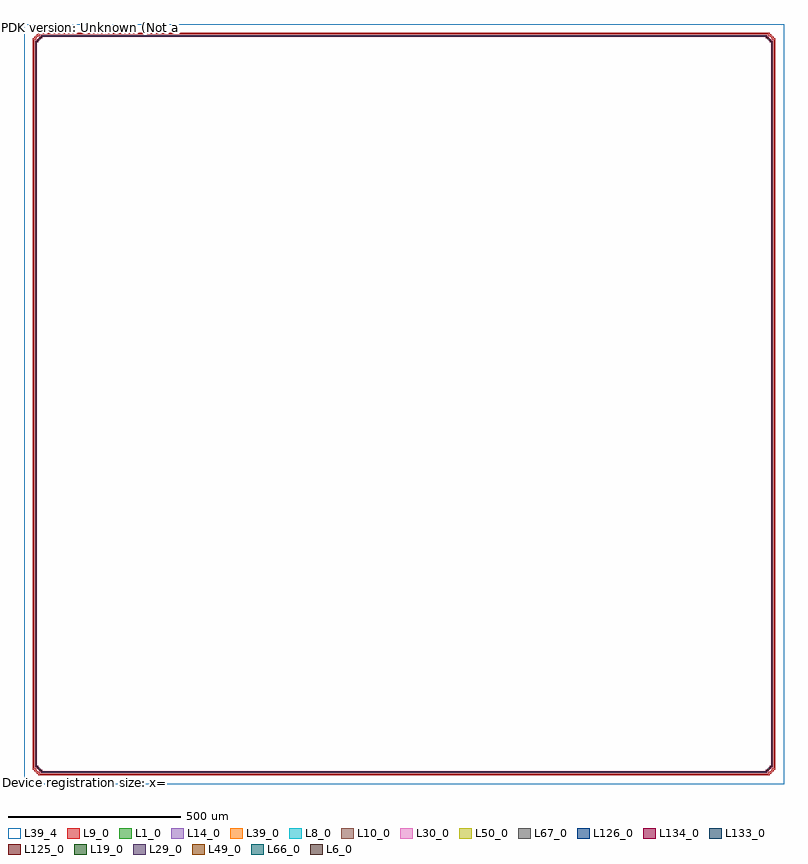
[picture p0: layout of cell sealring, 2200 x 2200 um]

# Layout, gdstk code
import gdstk
lib = gdstk.Library(unit=1e-6, precision=1e-09)
def R(c, l, rs):  # rectangles x0, y0, x1, y1
    for r in rs: c.add(gdstk.rectangle(r[:2], r[2:], *l))
def P(c, l, *ps):  # polygons
    for p in ps: c.add(gdstk.Polygon(p, *l))
L1_0 = (1, 0)
L6_0 = (6, 0)
L8_0 = (8, 0)
L9_0 = (9, 0)
L10_0 = (10, 0)
L14_0 = (14, 0)
L19_0 = (19, 0)
L29_0 = (29, 0)
L30_0 = (30, 0)
L39_0 = (39, 0)
L39_4 = (39, 4)
L49_0 = (49, 0)
L50_0 = (50, 0)
L66_0 = (66, 0)
L67_0 = (67, 0)
L125_0 = (125, 0)
L126_0 = (126, 0)
L133_0 = (133, 0)
L134_0 = (134, 0)

sealring = lib.new_cell('sealring')
R(sealring, L1_0, [(49,32.2,53.2,40.6), (53.2,32.2,2146.8,36.4), (2146.8,32.2,2151,36.4), (44.8,36.4,49,44.8), (2146.8,36.4,2155.2,40.6), (40.6,40.6,44.8,49), (2151,40.6,2159.4,44.8), (36.4,44.8,40.6,53.2), (2155.2,44.8,2163.6,49), (32.2,49,36.4,53.2), (2159.4,49,2167.8,53.2), (32.2,53.2,36.4,2146.8), (2163.6,53.2,2167.8,2146.8), (32.2,2146.8,40.6,2151), (2159.4,2146.8,2163.6,2155.2), (2163.6,2146.8,2167.8,2151), (36.4,2151,44.8,2155.2), (2155.2,2151,2159.4,2159.4), (40.6,2155.2,49,2159.4), (2151,2155.2,2155.2,2163.6), (44.8,2159.4,53.2,2163.6), (2146.8,2159.4,2151,2167.8), (49,2163.6,53.2,2167.8), (53.2,2163.6,2146.8,2167.8)])
R(sealring, L6_0, [(53.2,34.2,2146.8,34.36), (34.2,53.2,34.36,2146.8), (2165.64,53.2,2165.8,2146.8), (53.2,2165.64,2146.8,2165.8)])
P(sealring, L6_0, [(2165.64,2146.8),(2165.64,2148.84),(2161.44,2148.84),(2161.44,2153.04),(2157.24,2153.04),(2157.24,2157.24),(2153.04,2157.24),(2153.04,2161.44),(2148.84,2161.44),(2148.84,2165.64),(2146.8,2165.64),(2146.8,2165.8),(2149,2165.8),(2149,2161.6),(2153.2,2161.6),(2153.2,2157.4),(2157.4,2157.4),(2157.4,2153.2),(2161.6,2153.2),(2161.6,2149),(2165.8,2149),(2165.8,2146.8)],
  [(51,34.2),(51,38.4),(46.8,38.4),(46.8,42.6),(42.6,42.6),(42.6,46.8),(38.4,46.8),(38.4,51),(34.2,51),(34.2,53.2),(34.36,53.2),(34.36,51.16),(38.56,51.16),(38.56,46.96),(42.76,46.96),(42.76,42.76),(46.96,42.76),(46.96,38.56),(51.16,38.56),(51.16,34.36),(53.2,34.36),(53.2,34.2)],
  [(2146.8,34.2),(2146.8,34.36),(2148.84,34.36),(2148.84,38.56),(2153.04,38.56),(2153.04,42.76),(2157.24,42.76),(2157.24,46.96),(2161.44,46.96),(2161.44,51.16),(2165.64,51.16),(2165.64,53.2),(2165.8,53.2),(2165.8,51),(2161.6,51),(2161.6,46.8),(2157.4,46.8),(2157.4,42.6),(2153.2,42.6),(2153.2,38.4),(2149,38.4),(2149,34.2)],
  [(34.2,2146.8),(34.2,2149),(38.4,2149),(38.4,2153.2),(42.6,2153.2),(42.6,2157.4),(46.8,2157.4),(46.8,2161.6),(51,2161.6),(51,2165.8),(53.2,2165.8),(53.2,2165.64),(51.16,2165.64),(51.16,2161.44),(46.96,2161.44),(46.96,2157.24),(42.76,2157.24),(42.76,2153.04),(38.56,2153.04),(38.56,2148.84),(34.36,2148.84),(34.36,2146.8)])
R(sealring, L8_0, [(49,32.2,53.2,40.6), (53.2,32.2,2146.8,36.4), (2146.8,32.2,2151,36.4), (44.8,36.4,49,44.8), (2146.8,36.4,2155.2,40.6), (40.6,40.6,44.8,49), (2151,40.6,2159.4,44.8), (36.4,44.8,40.6,53.2), (2155.2,44.8,2163.6,49), (32.2,49,36.4,53.2), (2159.4,49,2167.8,53.2), (32.2,53.2,36.4,2146.8), (2163.6,53.2,2167.8,2146.8), (32.2,2146.8,40.6,2151), (2159.4,2146.8,2163.6,2155.2), (2163.6,2146.8,2167.8,2151), (36.4,2151,44.8,2155.2), (2155.2,2151,2159.4,2159.4), (40.6,2155.2,49,2159.4), (2151,2155.2,2155.2,2163.6), (44.8,2159.4,53.2,2163.6), (2146.8,2159.4,2151,2167.8), (49,2163.6,53.2,2167.8), (53.2,2163.6,2146.8,2167.8)])
R(sealring, L9_0, [(53.2,25,2146.8,29.2), (25,53.2,29.2,2146.8), (2170.8,53.2,2175,2146.8), (53.2,2170.8,2146.8,2175)])
P(sealring, L9_0, [(41.8,25),(41.8,29.2),(37.6,29.2),(37.6,33.4),(33.4,33.4),(33.4,37.6),(29.2,37.6),(29.2,41.8),(25,41.8),(25,53.2),(29.2,53.2),(29.2,46),(33.4,46),(33.4,41.8),(37.6,41.8),(37.6,37.6),(41.8,37.6),(41.8,33.4),(46,33.4),(46,29.2),(78.2,29.2),(78.2,25)],
  [(2170.8,2146.8),(2170.8,2154),(2166.6,2154),(2166.6,2158.2),(2162.4,2158.2),(2162.4,2162.4),(2158.2,2162.4),(2158.2,2166.6),(2154,2166.6),(2154,2170.8),(2121.8,2170.8),(2121.8,2175),(2158.2,2175),(2158.2,2170.8),(2162.4,2170.8),(2162.4,2166.6),(2166.6,2166.6),(2166.6,2162.4),(2170.8,2162.4),(2170.8,2158.2),(2175,2158.2),(2175,2146.8)],
  [(2146.8,25),(2146.8,29.2),(2154,29.2),(2154,33.4),(2158.2,33.4),(2158.2,37.6),(2162.4,37.6),(2162.4,41.8),(2166.6,41.8),(2166.6,46),(2170.8,46),(2170.8,78.2),(2175,78.2),(2175,41.8),(2170.8,41.8),(2170.8,37.6),(2166.6,37.6),(2166.6,33.4),(2162.4,33.4),(2162.4,29.2),(2158.2,29.2),(2158.2,25)],
  [(25,2121.8),(25,2158.2),(29.2,2158.2),(29.2,2162.4),(33.4,2162.4),(33.4,2166.6),(37.6,2166.6),(37.6,2170.8),(41.8,2170.8),(41.8,2175),(53.2,2175),(53.2,2170.8),(46,2170.8),(46,2166.6),(41.8,2166.6),(41.8,2162.4),(37.6,2162.4),(37.6,2158.2),(33.4,2158.2),(33.4,2154),(29.2,2154),(29.2,2121.8)])
R(sealring, L10_0, [(49,32.2,53.2,40.6), (53.2,32.2,2146.8,36.4), (2146.8,32.2,2151,36.4), (44.8,36.4,49,44.8), (2146.8,36.4,2155.2,40.6), (40.6,40.6,44.8,49), (2151,40.6,2159.4,44.8), (36.4,44.8,40.6,53.2), (2155.2,44.8,2163.6,49), (32.2,49,36.4,53.2), (2159.4,49,2167.8,53.2), (32.2,53.2,36.4,2146.8), (2163.6,53.2,2167.8,2146.8), (32.2,2146.8,40.6,2151), (2159.4,2146.8,2163.6,2155.2), (2163.6,2146.8,2167.8,2151), (36.4,2151,44.8,2155.2), (2155.2,2151,2159.4,2159.4), (40.6,2155.2,49,2159.4), (2151,2155.2,2155.2,2163.6), (44.8,2159.4,53.2,2163.6), (2146.8,2159.4,2151,2167.8), (49,2163.6,53.2,2167.8), (53.2,2163.6,2146.8,2167.8)])
R(sealring, L14_0, [(49,32.2,53.2,40.6), (53.2,32.2,2146.8,36.4), (2146.8,32.2,2151,36.4), (44.8,36.4,49,44.8), (2146.8,36.4,2155.2,40.6), (40.6,40.6,44.8,49), (2151,40.6,2159.4,44.8), (36.4,44.8,40.6,53.2), (2155.2,44.8,2163.6,49), (32.2,49,36.4,53.2), (2159.4,49,2167.8,53.2), (32.2,53.2,36.4,2146.8), (2163.6,53.2,2167.8,2146.8), (32.2,2146.8,40.6,2151), (2159.4,2146.8,2163.6,2155.2), (2163.6,2146.8,2167.8,2151), (36.4,2151,44.8,2155.2), (2155.2,2151,2159.4,2159.4), (40.6,2155.2,49,2159.4), (2151,2155.2,2155.2,2163.6), (44.8,2159.4,53.2,2163.6), (2146.8,2159.4,2151,2167.8), (49,2163.6,53.2,2167.8), (53.2,2163.6,2146.8,2167.8)])
R(sealring, L19_0, [(53.2,34.2,2146.8,34.39), (34.2,53.2,34.39,2146.8), (2165.61,53.2,2165.8,2146.8), (53.2,2165.61,2146.8,2165.8)])
P(sealring, L19_0, [(2165.61,2146.8),(2165.61,2148.81),(2161.41,2148.81),(2161.41,2153.01),(2157.21,2153.01),(2157.21,2157.21),(2153.01,2157.21),(2153.01,2161.41),(2148.81,2161.41),(2148.81,2165.61),(2146.8,2165.61),(2146.8,2165.8),(2149,2165.8),(2149,2161.6),(2153.2,2161.6),(2153.2,2157.4),(2157.4,2157.4),(2157.4,2153.2),(2161.6,2153.2),(2161.6,2149),(2165.8,2149),(2165.8,2146.8)],
  [(51,34.2),(51,38.4),(46.8,38.4),(46.8,42.6),(42.6,42.6),(42.6,46.8),(38.4,46.8),(38.4,51),(34.2,51),(34.2,53.2),(34.39,53.2),(34.39,51.19),(38.59,51.19),(38.59,46.99),(42.79,46.99),(42.79,42.79),(46.99,42.79),(46.99,38.59),(51.19,38.59),(51.19,34.39),(53.2,34.39),(53.2,34.2)],
  [(2146.8,34.2),(2146.8,34.39),(2148.81,34.39),(2148.81,38.59),(2153.01,38.59),(2153.01,42.79),(2157.21,42.79),(2157.21,46.99),(2161.41,46.99),(2161.41,51.19),(2165.61,51.19),(2165.61,53.2),(2165.8,53.2),(2165.8,51),(2161.6,51),(2161.6,46.8),(2157.4,46.8),(2157.4,42.6),(2153.2,42.6),(2153.2,38.4),(2149,38.4),(2149,34.2)],
  [(34.2,2146.8),(34.2,2149),(38.4,2149),(38.4,2153.2),(42.6,2153.2),(42.6,2157.4),(46.8,2157.4),(46.8,2161.6),(51,2161.6),(51,2165.8),(53.2,2165.8),(53.2,2165.61),(51.19,2165.61),(51.19,2161.41),(46.99,2161.41),(46.99,2157.21),(42.79,2157.21),(42.79,2153.01),(38.59,2153.01),(38.59,2148.81),(34.39,2148.81),(34.39,2146.8)])
R(sealring, L29_0, [(53.2,34.2,2146.8,34.39), (34.2,53.2,34.39,2146.8), (2165.61,53.2,2165.8,2146.8), (53.2,2165.61,2146.8,2165.8)])
P(sealring, L29_0, [(2165.61,2146.8),(2165.61,2148.81),(2161.41,2148.81),(2161.41,2153.01),(2157.21,2153.01),(2157.21,2157.21),(2153.01,2157.21),(2153.01,2161.41),(2148.81,2161.41),(2148.81,2165.61),(2146.8,2165.61),(2146.8,2165.8),(2149,2165.8),(2149,2161.6),(2153.2,2161.6),(2153.2,2157.4),(2157.4,2157.4),(2157.4,2153.2),(2161.6,2153.2),(2161.6,2149),(2165.8,2149),(2165.8,2146.8)],
  [(51,34.2),(51,38.4),(46.8,38.4),(46.8,42.6),(42.6,42.6),(42.6,46.8),(38.4,46.8),(38.4,51),(34.2,51),(34.2,53.2),(34.39,53.2),(34.39,51.19),(38.59,51.19),(38.59,46.99),(42.79,46.99),(42.79,42.79),(46.99,42.79),(46.99,38.59),(51.19,38.59),(51.19,34.39),(53.2,34.39),(53.2,34.2)],
  [(2146.8,34.2),(2146.8,34.39),(2148.81,34.39),(2148.81,38.59),(2153.01,38.59),(2153.01,42.79),(2157.21,42.79),(2157.21,46.99),(2161.41,46.99),(2161.41,51.19),(2165.61,51.19),(2165.61,53.2),(2165.8,53.2),(2165.8,51),(2161.6,51),(2161.6,46.8),(2157.4,46.8),(2157.4,42.6),(2153.2,42.6),(2153.2,38.4),(2149,38.4),(2149,34.2)],
  [(34.2,2146.8),(34.2,2149),(38.4,2149),(38.4,2153.2),(42.6,2153.2),(42.6,2157.4),(46.8,2157.4),(46.8,2161.6),(51,2161.6),(51,2165.8),(53.2,2165.8),(53.2,2165.61),(51.19,2165.61),(51.19,2161.41),(46.99,2161.41),(46.99,2157.21),(42.79,2157.21),(42.79,2153.01),(38.59,2153.01),(38.59,2148.81),(34.39,2148.81),(34.39,2146.8)])
R(sealring, L30_0, [(49,32.2,53.2,40.6), (53.2,32.2,2146.8,36.4), (2146.8,32.2,2151,36.4), (44.8,36.4,49,44.8), (2146.8,36.4,2155.2,40.6), (40.6,40.6,44.8,49), (2151,40.6,2159.4,44.8), (36.4,44.8,40.6,53.2), (2155.2,44.8,2163.6,49), (32.2,49,36.4,53.2), (2159.4,49,2167.8,53.2), (32.2,53.2,36.4,2146.8), (2163.6,53.2,2167.8,2146.8), (32.2,2146.8,40.6,2151), (2159.4,2146.8,2163.6,2155.2), (2163.6,2146.8,2167.8,2151), (36.4,2151,44.8,2155.2), (2155.2,2151,2159.4,2159.4), (40.6,2155.2,49,2159.4), (2151,2155.2,2155.2,2163.6), (44.8,2159.4,53.2,2163.6), (2146.8,2159.4,2151,2167.8), (49,2163.6,53.2,2167.8), (53.2,2163.6,2146.8,2167.8)])
R(sealring, L39_0, [(49,32.2,53.2,40.6), (53.2,32.2,2146.8,36.4), (2146.8,32.2,2151,36.4), (44.8,36.4,49,44.8), (2146.8,36.4,2155.2,40.6), (40.6,40.6,44.8,49), (2151,40.6,2159.4,44.8), (36.4,44.8,40.6,53.2), (2155.2,44.8,2163.6,49), (32.2,49,36.4,53.2), (2159.4,49,2167.8,53.2), (32.2,53.2,36.4,2146.8), (2163.6,53.2,2167.8,2146.8), (32.2,2146.8,40.6,2151), (2159.4,2146.8,2163.6,2155.2), (2163.6,2146.8,2167.8,2151), (36.4,2151,44.8,2155.2), (2155.2,2151,2159.4,2159.4), (40.6,2155.2,49,2159.4), (2151,2155.2,2155.2,2163.6), (44.8,2159.4,53.2,2163.6), (2146.8,2159.4,2151,2167.8), (49,2163.6,53.2,2167.8), (53.2,2163.6,2146.8,2167.8)])
R(sealring, L39_4, [(0,0,2200,2200)])
R(sealring, L49_0, [(53.2,34.2,2146.8,34.39), (34.2,53.2,34.39,2146.8), (2165.61,53.2,2165.8,2146.8), (53.2,2165.61,2146.8,2165.8)])
P(sealring, L49_0, [(2165.61,2146.8),(2165.61,2148.81),(2161.41,2148.81),(2161.41,2153.01),(2157.21,2153.01),(2157.21,2157.21),(2153.01,2157.21),(2153.01,2161.41),(2148.81,2161.41),(2148.81,2165.61),(2146.8,2165.61),(2146.8,2165.8),(2149,2165.8),(2149,2161.6),(2153.2,2161.6),(2153.2,2157.4),(2157.4,2157.4),(2157.4,2153.2),(2161.6,2153.2),(2161.6,2149),(2165.8,2149),(2165.8,2146.8)],
  [(51,34.2),(51,38.4),(46.8,38.4),(46.8,42.6),(42.6,42.6),(42.6,46.8),(38.4,46.8),(38.4,51),(34.2,51),(34.2,53.2),(34.39,53.2),(34.39,51.19),(38.59,51.19),(38.59,46.99),(42.79,46.99),(42.79,42.79),(46.99,42.79),(46.99,38.59),(51.19,38.59),(51.19,34.39),(53.2,34.39),(53.2,34.2)],
  [(2146.8,34.2),(2146.8,34.39),(2148.81,34.39),(2148.81,38.59),(2153.01,38.59),(2153.01,42.79),(2157.21,42.79),(2157.21,46.99),(2161.41,46.99),(2161.41,51.19),(2165.61,51.19),(2165.61,53.2),(2165.8,53.2),(2165.8,51),(2161.6,51),(2161.6,46.8),(2157.4,46.8),(2157.4,42.6),(2153.2,42.6),(2153.2,38.4),(2149,38.4),(2149,34.2)],
  [(34.2,2146.8),(34.2,2149),(38.4,2149),(38.4,2153.2),(42.6,2153.2),(42.6,2157.4),(46.8,2157.4),(46.8,2161.6),(51,2161.6),(51,2165.8),(53.2,2165.8),(53.2,2165.61),(51.19,2165.61),(51.19,2161.41),(46.99,2161.41),(46.99,2157.21),(42.79,2157.21),(42.79,2153.01),(38.59,2153.01),(38.59,2148.81),(34.39,2148.81),(34.39,2146.8)])
R(sealring, L50_0, [(49,32.2,53.2,40.6), (53.2,32.2,2146.8,36.4), (2146.8,32.2,2151,36.4), (44.8,36.4,49,44.8), (2146.8,36.4,2155.2,40.6), (40.6,40.6,44.8,49), (2151,40.6,2159.4,44.8), (36.4,44.8,40.6,53.2), (2155.2,44.8,2163.6,49), (32.2,49,36.4,53.2), (2159.4,49,2167.8,53.2), (32.2,53.2,36.4,2146.8), (2163.6,53.2,2167.8,2146.8), (32.2,2146.8,40.6,2151), (2159.4,2146.8,2163.6,2155.2), (2163.6,2146.8,2167.8,2151), (36.4,2151,44.8,2155.2), (2155.2,2151,2159.4,2159.4), (40.6,2155.2,49,2159.4), (2151,2155.2,2155.2,2163.6), (44.8,2159.4,53.2,2163.6), (2146.8,2159.4,2151,2167.8), (49,2163.6,53.2,2167.8), (53.2,2163.6,2146.8,2167.8)])
R(sealring, L66_0, [(53.2,34.2,2146.8,34.39), (34.2,53.2,34.39,2146.8), (2165.61,53.2,2165.8,2146.8), (53.2,2165.61,2146.8,2165.8)])
P(sealring, L66_0, [(2165.61,2146.8),(2165.61,2148.81),(2161.41,2148.81),(2161.41,2153.01),(2157.21,2153.01),(2157.21,2157.21),(2153.01,2157.21),(2153.01,2161.41),(2148.81,2161.41),(2148.81,2165.61),(2146.8,2165.61),(2146.8,2165.8),(2149,2165.8),(2149,2161.6),(2153.2,2161.6),(2153.2,2157.4),(2157.4,2157.4),(2157.4,2153.2),(2161.6,2153.2),(2161.6,2149),(2165.8,2149),(2165.8,2146.8)],
  [(51,34.2),(51,38.4),(46.8,38.4),(46.8,42.6),(42.6,42.6),(42.6,46.8),(38.4,46.8),(38.4,51),(34.2,51),(34.2,53.2),(34.39,53.2),(34.39,51.19),(38.59,51.19),(38.59,46.99),(42.79,46.99),(42.79,42.79),(46.99,42.79),(46.99,38.59),(51.19,38.59),(51.19,34.39),(53.2,34.39),(53.2,34.2)],
  [(2146.8,34.2),(2146.8,34.39),(2148.81,34.39),(2148.81,38.59),(2153.01,38.59),(2153.01,42.79),(2157.21,42.79),(2157.21,46.99),(2161.41,46.99),(2161.41,51.19),(2165.61,51.19),(2165.61,53.2),(2165.8,53.2),(2165.8,51),(2161.6,51),(2161.6,46.8),(2157.4,46.8),(2157.4,42.6),(2153.2,42.6),(2153.2,38.4),(2149,38.4),(2149,34.2)],
  [(34.2,2146.8),(34.2,2149),(38.4,2149),(38.4,2153.2),(42.6,2153.2),(42.6,2157.4),(46.8,2157.4),(46.8,2161.6),(51,2161.6),(51,2165.8),(53.2,2165.8),(53.2,2165.61),(51.19,2165.61),(51.19,2161.41),(46.99,2161.41),(46.99,2157.21),(42.79,2157.21),(42.79,2153.01),(38.59,2153.01),(38.59,2148.81),(34.39,2148.81),(34.39,2146.8)])
R(sealring, L67_0, [(49,32.2,53.2,40.6), (53.2,32.2,2146.8,36.4), (2146.8,32.2,2151,36.4), (44.8,36.4,49,44.8), (2146.8,36.4,2155.2,40.6), (40.6,40.6,44.8,49), (2151,40.6,2159.4,44.8), (36.4,44.8,40.6,53.2), (2155.2,44.8,2163.6,49), (32.2,49,36.4,53.2), (2159.4,49,2167.8,53.2), (32.2,53.2,36.4,2146.8), (2163.6,53.2,2167.8,2146.8), (32.2,2146.8,40.6,2151), (2159.4,2146.8,2163.6,2155.2), (2163.6,2146.8,2167.8,2151), (36.4,2151,44.8,2155.2), (2155.2,2151,2159.4,2159.4), (40.6,2155.2,49,2159.4), (2151,2155.2,2155.2,2163.6), (44.8,2159.4,53.2,2163.6), (2146.8,2159.4,2151,2167.8), (49,2163.6,53.2,2167.8), (53.2,2163.6,2146.8,2167.8)])
R(sealring, L125_0, [(53.2,34.2,2146.8,34.62), (34.2,53.2,34.62,2146.8), (2165.38,53.2,2165.8,2146.8), (53.2,2165.38,2146.8,2165.8)])
P(sealring, L125_0, [(2165.38,2146.8),(2165.38,2148.58),(2161.18,2148.58),(2161.18,2152.78),(2156.98,2152.78),(2156.98,2156.98),(2152.78,2156.98),(2152.78,2161.18),(2148.58,2161.18),(2148.58,2165.38),(2146.8,2165.38),(2146.8,2165.8),(2149,2165.8),(2149,2161.6),(2153.2,2161.6),(2153.2,2157.4),(2157.4,2157.4),(2157.4,2153.2),(2161.6,2153.2),(2161.6,2149),(2165.8,2149),(2165.8,2146.8)],
  [(51,34.2),(51,38.4),(46.8,38.4),(46.8,42.6),(42.6,42.6),(42.6,46.8),(38.4,46.8),(38.4,51),(34.2,51),(34.2,53.2),(34.62,53.2),(34.62,51.42),(38.82,51.42),(38.82,47.22),(43.02,47.22),(43.02,43.02),(47.22,43.02),(47.22,38.82),(51.42,38.82),(51.42,34.62),(53.2,34.62),(53.2,34.2)],
  [(2146.8,34.2),(2146.8,34.62),(2148.58,34.62),(2148.58,38.82),(2152.78,38.82),(2152.78,43.02),(2156.98,43.02),(2156.98,47.22),(2161.18,47.22),(2161.18,51.42),(2165.38,51.42),(2165.38,53.2),(2165.8,53.2),(2165.8,51),(2161.6,51),(2161.6,46.8),(2157.4,46.8),(2157.4,42.6),(2153.2,42.6),(2153.2,38.4),(2149,38.4),(2149,34.2)],
  [(34.2,2146.8),(34.2,2149),(38.4,2149),(38.4,2153.2),(42.6,2153.2),(42.6,2157.4),(46.8,2157.4),(46.8,2161.6),(51,2161.6),(51,2165.8),(53.2,2165.8),(53.2,2165.38),(51.42,2165.38),(51.42,2161.18),(47.22,2161.18),(47.22,2156.98),(43.02,2156.98),(43.02,2152.78),(38.82,2152.78),(38.82,2148.58),(34.62,2148.58),(34.62,2146.8)])
R(sealring, L126_0, [(49,32.2,53.2,40.6), (53.2,32.2,2146.8,36.4), (2146.8,32.2,2151,36.4), (44.8,36.4,49,44.8), (2146.8,36.4,2155.2,40.6), (40.6,40.6,44.8,49), (2151,40.6,2159.4,44.8), (36.4,44.8,40.6,53.2), (2155.2,44.8,2163.6,49), (32.2,49,36.4,53.2), (2159.4,49,2167.8,53.2), (32.2,53.2,36.4,2146.8), (2163.6,53.2,2167.8,2146.8), (32.2,2146.8,40.6,2151), (2159.4,2146.8,2163.6,2155.2), (2163.6,2146.8,2167.8,2151), (36.4,2151,44.8,2155.2), (2155.2,2151,2159.4,2159.4), (40.6,2155.2,49,2159.4), (2151,2155.2,2155.2,2163.6), (44.8,2159.4,53.2,2163.6), (2146.8,2159.4,2151,2167.8), (49,2163.6,53.2,2167.8), (53.2,2163.6,2146.8,2167.8)])
R(sealring, L133_0, [(53.2,34.2,2146.8,35.1), (34.2,53.2,35.1,2146.8), (2164.9,53.2,2165.8,2146.8), (53.2,2164.9,2146.8,2165.8)])
P(sealring, L133_0, [(2164.9,2146.8),(2164.9,2148.1),(2160.7,2148.1),(2160.7,2152.3),(2156.5,2152.3),(2156.5,2156.5),(2152.3,2156.5),(2152.3,2160.7),(2148.1,2160.7),(2148.1,2164.9),(2146.8,2164.9),(2146.8,2165.8),(2149,2165.8),(2149,2161.6),(2153.2,2161.6),(2153.2,2157.4),(2157.4,2157.4),(2157.4,2153.2),(2161.6,2153.2),(2161.6,2149),(2165.8,2149),(2165.8,2146.8)],
  [(51,34.2),(51,38.4),(46.8,38.4),(46.8,42.6),(42.6,42.6),(42.6,46.8),(38.4,46.8),(38.4,51),(34.2,51),(34.2,53.2),(35.1,53.2),(35.1,51.9),(39.3,51.9),(39.3,47.7),(43.5,47.7),(43.5,43.5),(47.7,43.5),(47.7,39.3),(51.9,39.3),(51.9,35.1),(53.2,35.1),(53.2,34.2)],
  [(2146.8,34.2),(2146.8,35.1),(2148.1,35.1),(2148.1,39.3),(2152.3,39.3),(2152.3,43.5),(2156.5,43.5),(2156.5,47.7),(2160.7,47.7),(2160.7,51.9),(2164.9,51.9),(2164.9,53.2),(2165.8,53.2),(2165.8,51),(2161.6,51),(2161.6,46.8),(2157.4,46.8),(2157.4,42.6),(2153.2,42.6),(2153.2,38.4),(2149,38.4),(2149,34.2)],
  [(34.2,2146.8),(34.2,2149),(38.4,2149),(38.4,2153.2),(42.6,2153.2),(42.6,2157.4),(46.8,2157.4),(46.8,2161.6),(51,2161.6),(51,2165.8),(53.2,2165.8),(53.2,2164.9),(51.9,2164.9),(51.9,2160.7),(47.7,2160.7),(47.7,2156.5),(43.5,2156.5),(43.5,2152.3),(39.3,2152.3),(39.3,2148.1),(35.1,2148.1),(35.1,2146.8)])
R(sealring, L134_0, [(49,32.2,53.2,40.6), (53.2,32.2,2146.8,36.4), (2146.8,32.2,2151,36.4), (44.8,36.4,49,44.8), (2146.8,36.4,2155.2,40.6), (40.6,40.6,44.8,49), (2151,40.6,2159.4,44.8), (36.4,44.8,40.6,53.2), (2155.2,44.8,2163.6,49), (32.2,49,36.4,53.2), (2159.4,49,2167.8,53.2), (32.2,53.2,36.4,2146.8), (2163.6,53.2,2167.8,2146.8), (32.2,2146.8,40.6,2151), (2159.4,2146.8,2163.6,2155.2), (2163.6,2146.8,2167.8,2151), (36.4,2151,44.8,2155.2), (2155.2,2151,2159.4,2159.4), (40.6,2155.2,49,2159.4), (2151,2155.2,2155.2,2163.6), (44.8,2159.4,53.2,2163.6), (2146.8,2159.4,2151,2167.8), (49,2163.6,53.2,2167.8), (53.2,2163.6,2146.8,2167.8)])
sealring.add(gdstk.Label('Device registration size: x=2200.0 um ; y=2200.0 um\nCalculated area: 4.8e-06 sq mm', (5,5), layer=63, texttype=0))
sealring.add(gdstk.Label('PDK version: Unknown (Not a Git repo or Git not installed)', (5,2190), layer=63, texttype=0))

lib.write_gds('sealring.gds')
